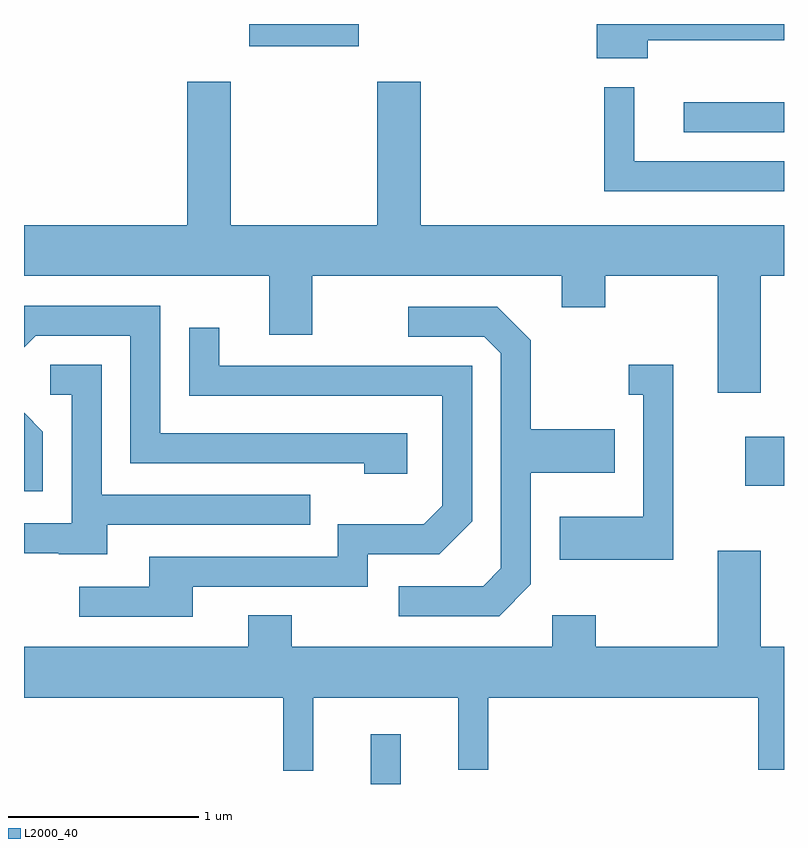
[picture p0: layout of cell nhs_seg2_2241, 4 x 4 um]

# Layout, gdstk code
import gdstk
lib = gdstk.Library(unit=1e-6, precision=1e-09)
def R(c, l, rs):  # rectangles x0, y0, x1, y1
    for r in rs: c.add(gdstk.rectangle(r[:2], r[2:], *l))
def P(c, l, *ps):  # polygons
    for p in ps: c.add(gdstk.Polygon(p, *l))
L2000_40 = (2000, 40)

nhs_seg2_2241 = lib.new_cell('nhs_seg2_2241')
R(nhs_seg2_2241, L2000_40, [(251.436,1107.802,251.594,1108.063), (253.406,1109.371,253.611,1109.629), (253.083,1111.231,253.611,1111.389), (250.796,1111.686,251.374,1111.802)])
P(nhs_seg2_2241, L2000_40, [(252.894,1111.716),(253.611,1111.716),(253.611,1111.802),(252.626,1111.802),(252.626,1111.621),(252.894,1111.621)],
  [(253.611,1111.079),(252.824,1111.079),(252.824,1111.468),(252.666,1111.468),(252.666,1110.921),(253.611,1110.921)],
  [(251.699,1111.499),(251.471,1111.499),(251.471,1110.744),(250.699,1110.744),(250.699,1111.499),(250.471,1111.499),(250.471,1110.744),(249.611,1110.744),(249.611,1110.476),(250.901,1110.476),(250.901,1110.166),(251.129,1110.166),(251.129,1110.476),(252.441,1110.476),(252.441,1110.311),(252.669,1110.311),(252.669,1110.476),(253.261,1110.476),(253.261,1109.861),(253.489,1109.861),(253.489,1110.476),(253.611,1110.476),(253.611,1110.744),(251.699,1110.744)],
  [(251.629,1109.649),(250.329,1109.649),(250.329,1110.319),(249.611,1110.319),(249.611,1110.1),(249.672,1110.161),(250.171,1110.161),(250.171,1109.491),(251.401,1109.491),(251.401,1109.436),(251.629,1109.436)],
  [(252.279,1108.854),(252.279,1109.441),(252.719,1109.441),(252.719,1109.669),(252.279,1109.669),(252.279,1110.137),(252.102,1110.314),(251.633,1110.314),(251.633,1110.156),(252.034,1110.156),(252.121,1110.069),(252.121,1108.937),(252.029,1108.844),(251.583,1108.844),(251.583,1108.686),(252.112,1108.686)],
  [(250.499,1108.841),(251.419,1108.841),(251.419,1109.011),(251.797,1109.011),(251.969,1109.184),(251.969,1110.004),(250.639,1110.004),(250.639,1110.203),(250.481,1110.203),(250.481,1109.846),(251.811,1109.846),(251.811,1109.267),(251.714,1109.169),(251.261,1109.169),(251.261,1108.999),(250.271,1108.999),(250.271,1108.839),(249.903,1108.839),(249.903,1108.681),(250.499,1108.681)],
  [(250.049,1109.166),(251.118,1109.166),(251.118,1109.324),(250.019,1109.324),(250.019,1110.009),(249.748,1110.009),(249.748,1109.851),(249.861,1109.851),(249.861,1109.174),(249.611,1109.174),(249.611,1109.016),(249.795,1109.016),(249.795,1109.011),(250.049,1109.011)],
  [(253.029,1110.009),(252.793,1110.009),(252.793,1109.851),(252.871,1109.851),(252.871,1109.209),(252.431,1109.209),(252.431,1108.981),(253.029,1108.981)],
  [(249.709,1109.657),(249.611,1109.755),(249.611,1109.343),(249.709,1109.343)],
  [(251.134,1108.256),(251.896,1108.256),(251.896,1107.878),(252.054,1107.878),(252.054,1108.256),(253.476,1108.256),(253.476,1107.878),(253.611,1107.878),(253.611,1108.524),(253.489,1108.524),(253.489,1109.029),(253.261,1109.029),(253.261,1108.524),(252.619,1108.524),(252.619,1108.689),(252.391,1108.689),(252.391,1108.524),(251.019,1108.524),(251.019,1108.689),(250.791,1108.689),(250.791,1108.524),(249.611,1108.524),(249.611,1108.256),(250.976,1108.256),(250.976,1107.873),(251.134,1107.873)])

lib.write_gds('nhs_seg2_2241.gds')
